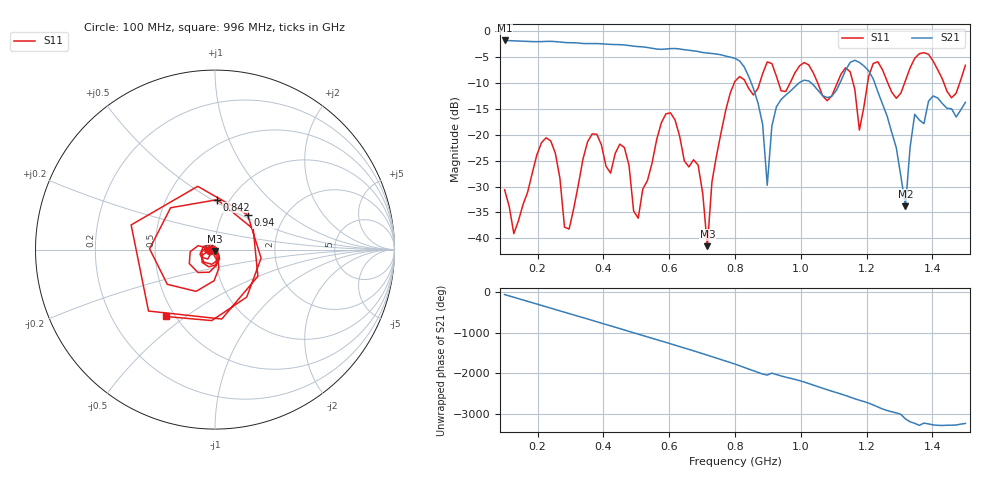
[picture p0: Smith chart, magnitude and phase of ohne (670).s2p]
! NanoVNA-App
! Date: 2025-09-25 14:26:01
! Start: 100MHz Stop: 1,5GHz Points: 101
! S-Parameter data: F S11 S21 S12 S22
# Hz S RI R 50
!  Frequency  S11_Real  S11_Imag  S21_Real  S21_Imag  S12_Real  S12_Imag  S22_Real  S22_Imag
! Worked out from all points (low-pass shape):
!   101 points, 100 MHz to 1.5 GHz, reference 50 ohm
!   highest |S21| = -1.79 dB at 100 MHz (marker M1); lowest = -33.8 dB at 1.318 GHz (marker M2)
!   |S21| within 3 dB of the highest: start of sweep to 770.7 MHz
!   lowest |S11| = -41.5 dB at 716 MHz (marker M3), VSWR 1.02, Z = 49.8 - j0.817 ohm
!   |S11| at or under -10 dB: start of sweep to 797.9 MHz; 833.1 MHz to 875.1 MHz (42.01 MHz wide, 4.92 % of centre); 1.051 GHz to 1.111 GHz (59.43 MHz wide, 5.5 % of centre) (the widest 3 of 7)
!   S12 and S22 are empty: the file has one direction only
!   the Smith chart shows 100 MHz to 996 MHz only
!   S11 on the Smith chart (normalised r, x): 100 MHz: 0.94, -0.01; 842 MHz: 0.88, +0.53; 940 MHz: 1.31, +0.55; 996 MHz: 0.45, -0.42
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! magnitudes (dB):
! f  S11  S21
! 100 MHz  -30.6  -1.8
! 128 MHz  -39.1  -1.9
! 226 MHz  -20.6  -2.0
! 296 MHz  -38.2  -2.2
! 338 MHz  -24.7  -2.4
! 464 MHz  -22.5  -2.7
! 506 MHz  -36.1  -3.0
! 576 MHz  -17.7  -3.5
! 688 MHz  -25.9  -3.9
! 716 MHz  -41.5  -4.2
! 800 MHz  -9.7  -5.2
! 842 MHz  -11.1  -8.8
! 898 MHz  -5.9  -29.8
! 940 MHz  -11.5  -13.2
! 996 MHz  -6.7  -9.9
! 1.038 GHz  -8.1  -10.4
! 1.178 GHz  -19.1  -6.0
! 1.22 GHz  -6.2  -9.2
! 1.276 GHz  -11.8  -19.5
! 1.318 GHz  -9.5  -33.8
! 1.346 GHz  -5.2  -16.1
! 1.5 GHz  -6.6  -13.7
